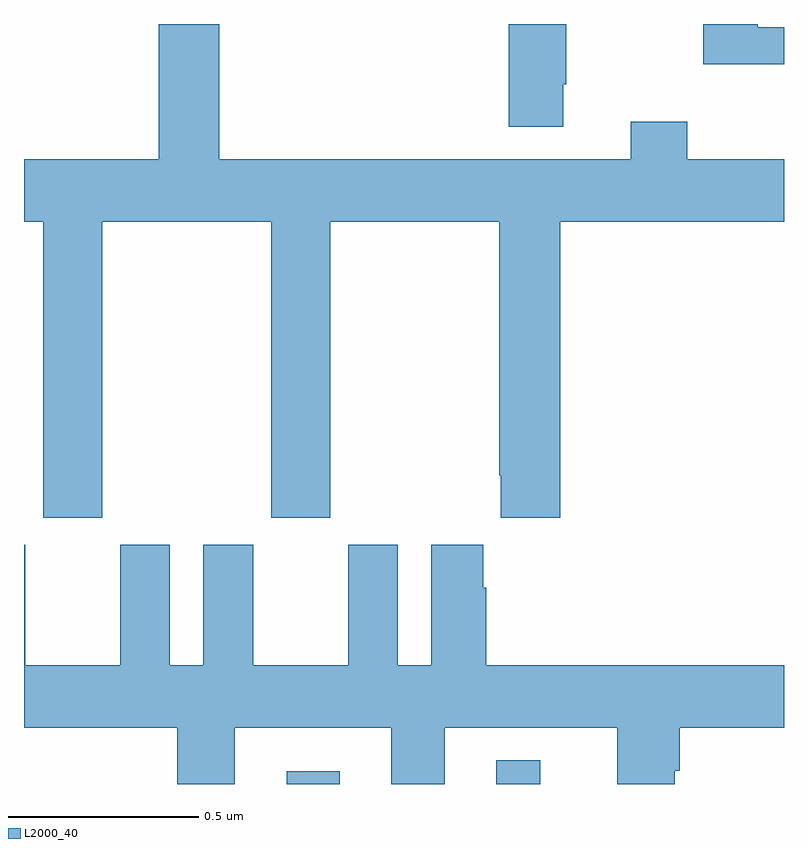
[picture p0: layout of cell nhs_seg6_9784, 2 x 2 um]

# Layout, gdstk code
import gdstk
lib = gdstk.Library(unit=1e-6, precision=1e-09)
def R(c, l, rs):  # rectangles x0, y0, x1, y1
    for r in rs: c.add(gdstk.rectangle(r[:2], r[2:], *l))
def P(c, l, *ps):  # polygons
    for p in ps: c.add(gdstk.Polygon(p, *l))
L2000_40 = (2000, 40)

nhs_seg6_9784 = lib.new_cell('nhs_seg6_9784')
R(nhs_seg6_9784, L2000_40, [(238.691,968.5,238.831,968.533), (239.243,968.5,239.359,968.563)])
P(nhs_seg6_9784, L2000_40, [(238.206,969.98),(238.651,969.98),(238.651,969.201),(238.806,969.201),(238.806,969.98),(239.251,969.98),(239.251,969.313),(239.255,969.313),(239.255,969.201),(239.411,969.201),(239.411,969.98),(240,969.98),(240,970.144),(239.745,970.144),(239.745,970.243),(239.597,970.243),(239.597,970.144),(238.514,970.144),(238.514,970.5),(238.354,970.5),(238.354,970.144),(238,970.144),(238,969.98),(238.051,969.98),(238.051,969.201),(238.206,969.201)],
  [(240,970.491),(239.931,970.491),(239.931,970.5),(239.787,970.5),(239.787,970.394),(240,970.394)],
  [(239.419,970.342),(239.427,970.342),(239.427,970.5),(239.276,970.5),(239.276,970.23),(239.419,970.23)],
  [(238.555,968.648),(238.967,968.648),(238.967,968.5),(239.107,968.5),(239.107,968.648),(239.561,968.648),(239.561,968.5),(239.713,968.5),(239.713,968.535),(239.726,968.535),(239.726,968.648),(240,968.648),(240,968.812),(239.216,968.812),(239.216,969.017),(239.209,969.017),(239.209,969.13),(239.072,969.13),(239.072,968.812),(238.984,968.812),(238.984,969.13),(238.853,969.13),(238.853,968.812),(238.603,968.812),(238.603,969.13),(238.472,969.13),(238.472,968.812),(238.384,968.812),(238.384,969.13),(238.253,969.13),(238.253,968.812),(238.003,968.812),(238.003,969.13),(238,969.13),(238,968.648),(238.403,968.648),(238.403,968.5),(238.555,968.5)])

lib.write_gds('nhs_seg6_9784.gds')
